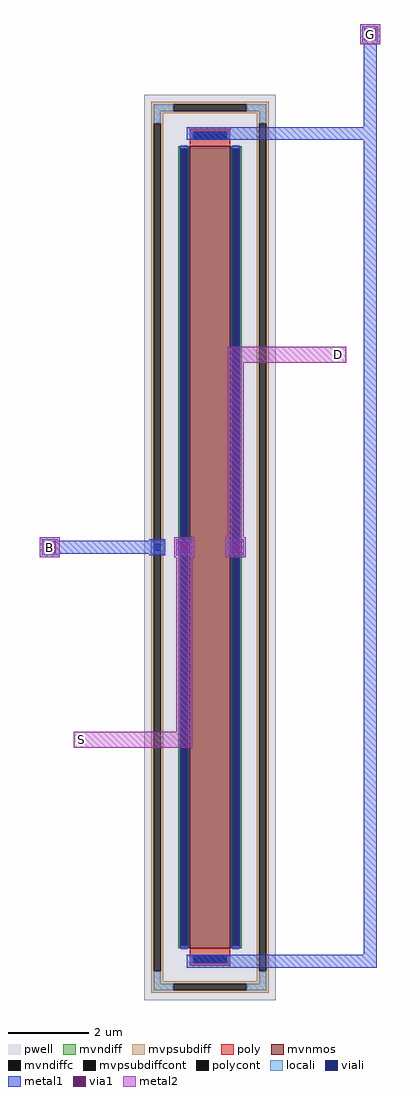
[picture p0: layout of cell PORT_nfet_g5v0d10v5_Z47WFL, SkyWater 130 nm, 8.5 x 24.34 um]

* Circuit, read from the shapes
.subckt PORT_nfet_g5v0d10v5_Z47WFL B S D G
XM1 D G S B sky130_fd_pr__nfet_g5v0d10v5 w=20 l=1
.ends

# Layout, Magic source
magic
tech sky130A
magscale 1 2
use sky130_fd_pr__nfet_g5v0d10v5_Z47WFL XDEV
transform 1 0 0 0 1 0
box -328 -2258 328 2258
<< locali >>
rect -296 -33 -230 33
<< viali >>
rect -280 -17 -246 17
<< metal1 >>
rect -303 -40 -223 40
rect -832 -32 -231 32
rect -840 -40 -760 40
rect -169 -40 -89 40
rect 89 -40 169 40
rect -116 2032 832 2096
rect -116 -2096 832 -2032
rect 768 -2087 832 2592
rect 760 2520 840 2600
<< via1 >>
rect -830 -30 -770 30
rect -159 -30 -99 30
rect 99 -30 159 30
rect 770 2530 830 2590
<< metal2 >>
rect -850 -50 -750 50
rect -179 -50 -79 50
rect -169 -40 -89 40
rect -169 -1000 -89 40
rect 79 -50 179 50
rect 89 -40 169 40
rect 89 -40 169 1000
rect -680 -1000 -89 -920
rect 89 920 680 1000
rect 750 2510 850 2610
<< labels >>
rlabel metal2 -830 -30 -770 30 0 B
port 1 nsew
rlabel metal2 -670 -990 -610 -930 0 S
port 2 nsew
rlabel metal2 610 930 670 990 0 D
port 3 nsew
rlabel metal2 770 2530 830 2590 0 G
port 4 nsew
<< end >>

# cell sky130_fd_pr__nfet_g5v0d10v5_Z47WFL: kit device sky130_fd_pr__nfet_g5v0d10v5, w 20.0 l 1.0 m 1 nf 1 diffcov 100 polycov 100 guard 1 glc 1 grc 1 gtc 1 gbc 1 tbcov 100 rlcov 100 topc 1 botc 1 poverlap 0 doverlap 1 lmin 0.50 wmin 0.42 compatible {sky130_fd_pr__nfet_01v8 sky130_fd_pr__nfet_01v8_lvt sky130_fd_bs_flash__special_sonosfet_star sky130_fd_pr__nfet_g5v0d10v5 sky130_fd_pr__nfet_05v0_nvt sky130_fd_pr__nfet_03v3_nvt} full_metal 1 viasrc 100 viadrn 100 viagate 100 viagb 0 viagr 0 viagl 0 viagt 0
